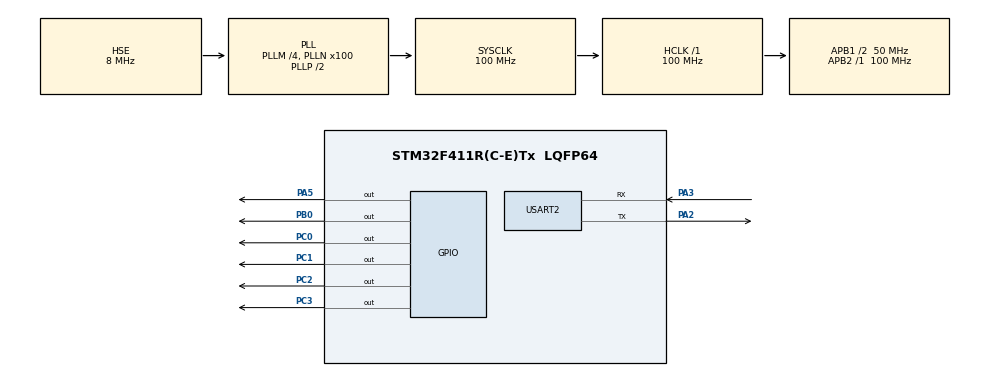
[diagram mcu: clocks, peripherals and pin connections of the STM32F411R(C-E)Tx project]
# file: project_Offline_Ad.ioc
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Mcu.Family=STM32F4
Mcu.Name=STM32F411R(C-E)Tx
Mcu.Package=LQFP64
NVIC.PriorityGroup=NVIC_PRIORITYGROUP_4
NVIC.USART2_IRQn=true\:0\:0\:false\:false\:true\:true\:true\:true
PA13.Mode=Serial_Wire
PA13.Signal=SYS_JTMS-SWDIO
PA14.Mode=Serial_Wire
PA14.Signal=SYS_JTCK-SWCLK
PA2.Mode=Asynchronous
PA2.Signal=USART2_TX
PA3.Mode=Asynchronous
PA3.Signal=USART2_RX
PA5.Signal=GPIO_Output
PB0.GPIO_PuPd=GPIO_NOPULL
PB0.Signal=GPIO_Output
PC0.GPIO_PuPd=GPIO_NOPULL
PC0.Signal=GPIO_Output
PC1.GPIO_PuPd=GPIO_NOPULL
PC1.Signal=GPIO_Output
PC2.GPIO_PuPd=GPIO_NOPULL
PC2.Signal=GPIO_Output
PC3.GPIO_PuPd=GPIO_NOPULL
PC3.Signal=GPIO_Output
PH0\ -\ OSC_IN.Mode=HSE-External-Oscillator
PH0\ -\ OSC_IN.Signal=RCC_OSC_IN
PH1\ -\ OSC_OUT.Mode=HSE-External-Oscillator
PH1\ -\ OSC_OUT.Signal=RCC_OSC_OUT
ProjectManager.HeapSize=0x200
ProjectManager.StackSize=0x400
ProjectManager.TargetToolchain=STM32CubeIDE
RCC.48MHZClocksFreq_Value=50000000
RCC.AHBFreq_Value=100000000
RCC.APB1CLKDivider=RCC_HCLK_DIV2
RCC.APB1Freq_Value=50000000
RCC.APB1TimFreq_Value=100000000
RCC.APB2Freq_Value=100000000
RCC.APB2TimFreq_Value=100000000
RCC.CortexFreq_Value=100000000
RCC.HCLKFreq_Value=100000000
RCC.HSE_VALUE=8000000
RCC.HSI_VALUE=16000000
RCC.LSE_VALUE=32768
RCC.PLLM=4
RCC.PLLN=100
RCC.PLLSourceVirtual=RCC_PLLSOURCE_HSE
RCC.SYSCLKFreq_VALUE=100000000
RCC.SYSCLKSource=RCC_SYSCLKSOURCE_PLLCLK
RCC.VCOOutputFreq_Value=200000000
USART2.VirtualMode=VM_ASYNC
board=custom

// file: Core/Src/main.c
/* USER CODE BEGIN Header */
/**
  ******************************************************************************
  * @file           : main.c
  * @brief          : Main program body
  ******************************************************************************
  * @attention
  *
  * Copyright (c) 2024 STMicroelectronics.
  * All rights reserved.
  *
  * This software is licensed under terms that can be found in the LICENSE file
  * in the root directory of this software component.
  * If no LICENSE file comes with this software, it is provided AS-IS.
  *
  ******************************************************************************
  */
/* USER CODE END Header */
#include "main.h"
#include "usart.h"
#include "gpio.h"
#include <stdio.h>
#include <stdlib.h>

/* USER CODE BEGIN PV */
uint8_t rxData[2];
uint8_t flag = 0;
uint8_t state = 0;
GPIO_TypeDef *led_GPIO[6] =
    {
        GPIOA, GPIOB, GPIOC, GPIOC, GPIOC, GPIOC
    };
GPIO_TypeDef *led_GPIO_PIN[6] =
    {
        GPIO_PIN_5, GPIO_PIN_0, GPIO_PIN_1, GPIO_PIN_0, GPIO_PIN_2, GPIO_PIN_3
    };

/* USER CODE END PV */

void SystemClock_Config(void);
/* USER CODE BEGIN PFP */
void HAL_UART_RxCpltCallback(UART_HandleTypeDef *huart){
  HAL_UART_Receive_IT(&huart2, rxData, sizeof(rxData));

  if(rxData[0]=='0'){
    flag = 0;
  }
  else if(rxData[0]=='1'){
    flag = 1;
    state = rxData[1]-48;
  }
}

/* USER CODE END PFP */

/* USER CODE BEGIN 0 */
void LED_init(){
  for(int i=0; i<6; i++){
      HAL_GPIO_WritePin(led_GPIO[i], led_GPIO_PIN[i], 0);
    }
}
/* USER CODE END 0 */

int main(void)
{

  /* MCU Configuration--------------------------------------------------------*/

  /* Reset of all peripherals, Initializes the Flash interface and the Systick. */
  HAL_Init();

  /* Configure the system clock */
  SystemClock_Config();

  /* Initialize all configured peripherals */
  MX_GPIO_Init();
  MX_USART2_UART_Init();
  /* USER CODE BEGIN 2 */
  LED_init();
//  state=1;
  HAL_UART_Receive_IT(&huart2, rxData, sizeof(rxData));
//  HAL_GPIO_WritePin(led_GPIO[state], led_GPIO_PIN[state], 1);
  /* USER CODE END 2 */

  /* Infinite loop */
  while (1)
  {
    /* USER CODE BEGIN 3 */
    if(flag == 1){
      HAL_GPIO_WritePin(led_GPIO[state], led_GPIO_PIN[state], 1);
      HAL_Delay(1000);
      HAL_GPIO_WritePin(led_GPIO[state], led_GPIO_PIN[state], 0);
      HAL_Delay(1000);
      flag = 0;
    }
  }
  /* USER CODE END 3 */
}

void SystemClock_Config(void)
{
  RCC_OscInitTypeDef RCC_OscInitStruct = {0};
  RCC_ClkInitTypeDef RCC_ClkInitStruct = {0};

  /** Configure the main internal regulator output voltage
  */
  __HAL_RCC_PWR_CLK_ENABLE();
  __HAL_PWR_VOLTAGESCALING_CONFIG(PWR_REGULATOR_VOLTAGE_SCALE1);

  /** Initializes the RCC Oscillators according to the specified parameters
  * in the RCC_OscInitTypeDef structure.
  */
  RCC_OscInitStruct.OscillatorType = RCC_OSCILLATORTYPE_HSE;
  RCC_OscInitStruct.HSEState = RCC_HSE_ON;
  RCC_OscInitStruct.PLL.PLLState = RCC_PLL_ON;
  RCC_OscInitStruct.PLL.PLLSource = RCC_PLLSOURCE_HSE;
  RCC_OscInitStruct.PLL.PLLM = 4;
  RCC_OscInitStruct.PLL.PLLN = 100;
  RCC_OscInitStruct.PLL.PLLP = RCC_PLLP_DIV2;
  RCC_OscInitStruct.PLL.PLLQ = 4;
  if (HAL_RCC_OscConfig(&RCC_OscInitStruct) != HAL_OK)
  {
    Error_Handler();
  }

  /** Initializes the CPU, AHB and APB buses clocks
  */
  RCC_ClkInitStruct.ClockType = RCC_CLOCKTYPE_HCLK|RCC_CLOCKTYPE_SYSCLK
                              |RCC_CLOCKTYPE_PCLK1|RCC_CLOCKTYPE_PCLK2;
  RCC_ClkInitStruct.SYSCLKSource = RCC_SYSCLKSOURCE_PLLCLK;
  RCC_ClkInitStruct.AHBCLKDivider = RCC_SYSCLK_DIV1;
  RCC_ClkInitStruct.APB1CLKDivider = RCC_HCLK_DIV2;
  RCC_ClkInitStruct.APB2CLKDivider = RCC_HCLK_DIV1;

  if (HAL_RCC_ClockConfig(&RCC_ClkInitStruct, FLASH_LATENCY_3) != HAL_OK)
  {
    Error_Handler();
  }
}

void Error_Handler(void)
{
  __disable_irq();
  while (1)
  {
  }
}
